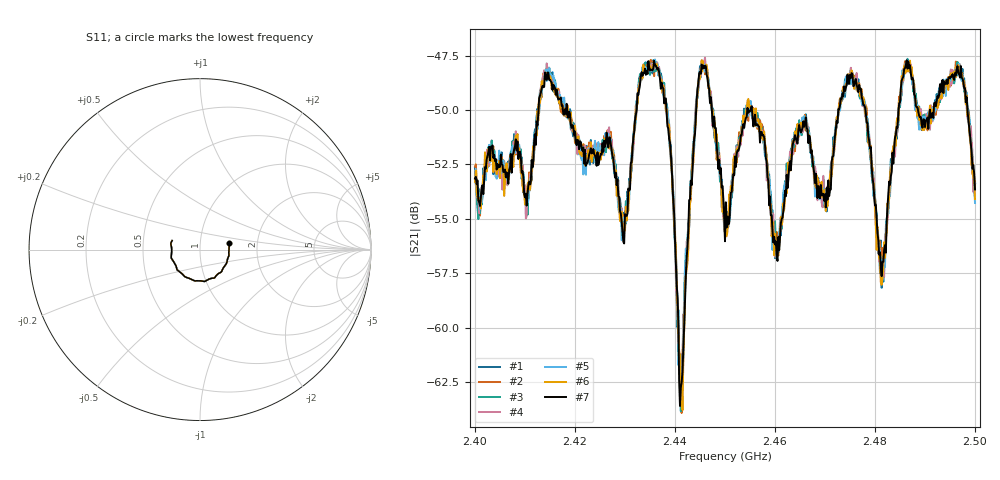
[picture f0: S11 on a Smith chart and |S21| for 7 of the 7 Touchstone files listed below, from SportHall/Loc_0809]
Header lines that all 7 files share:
# Hz S RI R
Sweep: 2.4 GHz to 2.5 GHz
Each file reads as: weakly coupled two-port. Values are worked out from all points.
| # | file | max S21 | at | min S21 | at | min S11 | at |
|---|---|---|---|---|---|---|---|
| 1 | Lab_139_2Ch1.s2p | -47.70 dB | 2.4357 GHz | -62.7 dB | 2.4413 GHz | -15.6 dB | 2.4932 GHz |
| 2 | Lab_139_3Ch1.s2p | -47.70 dB | 2.4352 GHz | -63.9 dB | 2.4413 GHz | -15.6 dB | 2.4928 GHz |
| 3 | Lab_139_5Ch1.s2p | -47.65 dB | 2.4865 GHz | -63.8 dB | 2.4412 GHz | -15.6 dB | 2.4928 GHz |
| 4 | Lab_139_7Ch1.s2p | -47.58 dB | 2.446 GHz | -63.4 dB | 2.4413 GHz | -15.6 dB | 2.4935 GHz |
| 5 | Lab_139_8Ch1.s2p | -47.68 dB | 2.436 GHz | -63.2 dB | 2.4412 GHz | -15.6 dB | 2.4932 GHz |
| 6 | Lab_139_9Ch1.s2p | -47.73 dB | 2.4455 GHz | -63.8 dB | 2.4415 GHz | -15.6 dB | 2.4935 GHz |
| 7 | Lab_139_10Ch1.s2p | -47.72 dB | 2.4863 GHz | -63.6 dB | 2.441 GHz | -15.6 dB | 2.4932 GHz |
